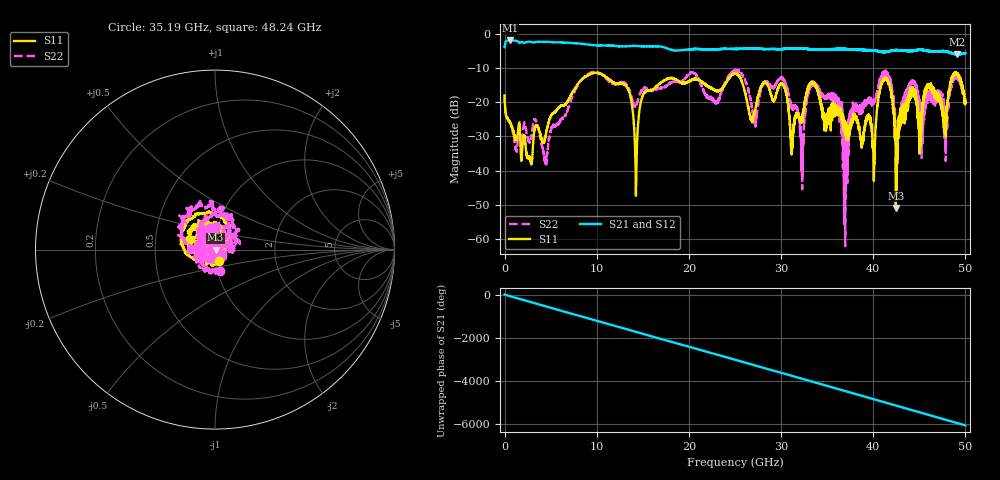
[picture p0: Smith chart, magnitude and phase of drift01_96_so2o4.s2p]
!Created with skrf (http://scikit-rf.org).
# Hz S RI R 50.0
!freq ReS11 ImS11 ReS21 ImS21 ReS12 ImS12 ReS22 ImS22
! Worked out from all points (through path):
!   10001 points, 300 kHz to 50 GHz, reference 50 ohm
!   highest |S21| = -2.00 dB at 570.3 MHz (marker M1); lowest = -6.1 dB at 49.07 GHz (marker M2)
!   group delay of S21, straight-line fit = 336 ps
!   lowest |S11| = -50.9 dB at 42.46 GHz (marker M3), VSWR 1.01, Z = 50.3 - j0.0366 ohm
!   |S11| at or under -10 dB: start of sweep to end of sweep
!   |S22| runs from -62.1 to -10.5 dB; largest |S21 - S12| = 0.024
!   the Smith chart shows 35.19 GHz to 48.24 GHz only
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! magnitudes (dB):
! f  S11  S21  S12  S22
! 300 kHz  -18.1  -3.9  -4.0  -17.8
! 570.3 MHz  -26.0  -2.0  -2.0  -26.1
! 4.445 GHz  -29.9  -2.4  -2.4  -37.4
! 8.335 GHz  -13.5  -3.0  -3.0  -13.5
! 13.17 GHz  -15.2  -3.7  -3.7  -14.6
! 14.26 GHz  -46.7  -3.6  -3.6  -21.2
! 14.98 GHz  -18.2  -3.7  -3.7  -16.1
! 16.67 GHz  -14.9  -3.7  -3.7  -15.8
! 25 GHz  -11.6  -4.5  -4.5  -11.0
! 27.15 GHz  -22.5  -4.3  -4.3  -26.0
! 30.21 GHz  -15.0  -4.5  -4.5  -13.2
! 31.15 GHz  -33.4  -4.3  -4.3  -21.4
! 32.25 GHz  -24.9  -4.3  -4.3  -39.7
! 33.34 GHz  -14.2  -4.6  -4.6  -14.6
! 37.04 GHz  -27.1  -4.5  -4.5  -30.7
! 40.06 GHz  -42.6  -4.9  -5.0  -20.2
! 41.67 GHz  -14.2  -5.1  -5.2  -12.8
! 42.46 GHz  -50.9  -4.8  -4.7  -32.0
! 44.23 GHz  -17.2  -4.9  -4.9  -14.5
! 47.75 GHz  -27.4  -5.2  -5.1  -24.9
! 49.07 GHz  -11.7  -6.1  -6.0  -12.8
! 50 GHz  -19.7  -5.7  -5.8  -19.7
